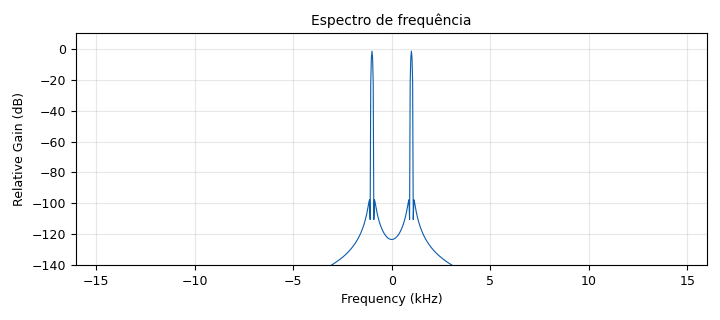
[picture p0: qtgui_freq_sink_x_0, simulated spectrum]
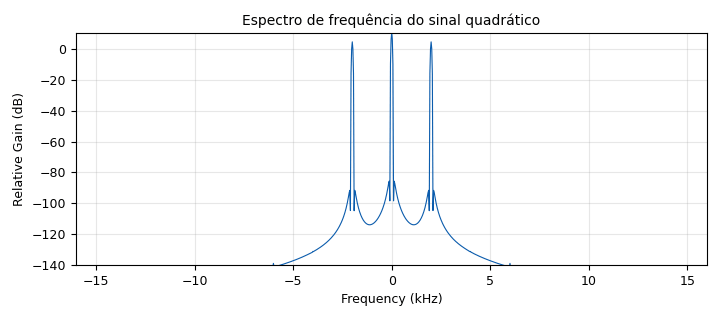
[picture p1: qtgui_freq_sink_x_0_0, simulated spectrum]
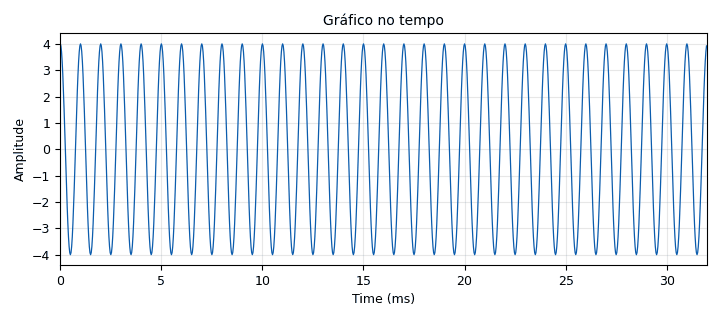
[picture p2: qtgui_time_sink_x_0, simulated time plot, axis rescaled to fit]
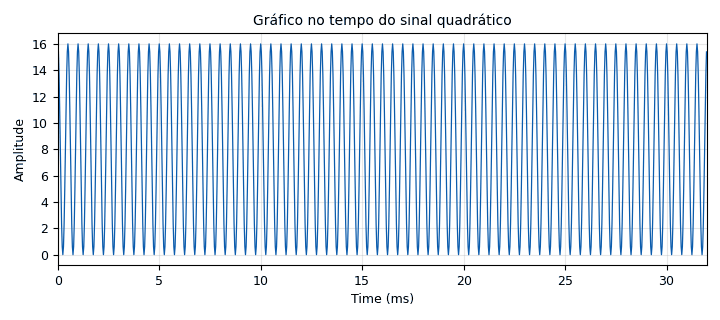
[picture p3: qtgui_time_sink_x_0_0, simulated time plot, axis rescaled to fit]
options:
  parameters:
    generate_options: qt_gui
    id: aula_0
    output_language: python
    title: Introdução ao GnuRadio
  states: {}

blocks:
- name: A
  id: variable
  parameters:
    value: '4'
  states: {}
- name: fc
  id: variable
  parameters:
    value: '1000'
  states: {}
- name: samp_rate
  id: variable
  parameters:
    value: '32000'
  states: {}
- name: variable_0
  id: variable
  parameters:
    value: '0'
  states: {}
- name: analog_sig_source_x_0
  id: analog_sig_source_x
  parameters:
    amp: A
    freq: fc
    offset: '0'
    phase: '0'
    samp_rate: samp_rate
    type: float
    waveform: analog.GR_COS_WAVE
  states: {}
- name: blocks_complex_to_mag_squared_0
  id: blocks_complex_to_mag_squared
  parameters: {}
  states: {}
- name: blocks_float_to_complex_0
  id: blocks_float_to_complex
  parameters: {}
  states: {}
- name: blocks_integrate_xx_0
  id: blocks_integrate_xx
  parameters:
    decim: '1024'
    type: float
  states: {}
- name: blocks_multiply_const_vxx_0
  id: blocks_multiply_const_vxx
  parameters:
    const: 1/1024
    type: float
  states: {}
- name: blocks_null_source_0
  id: blocks_null_source
  parameters:
    type: float
  states: {}
- name: blocks_throttle_0
  id: blocks_throttle
  parameters:
    samples_per_second: samp_rate
    type: float
  states: {}
- name: qtgui_freq_sink_x_0
  id: qtgui_freq_sink_x
  parameters:
    average: '0.05'
    bw: samp_rate
    fc: '0'
    fftsize: '1024'
    name: Espectro de frequência
    type: float
    wintype: window.WIN_BLACKMAN
  states: {}
- name: qtgui_freq_sink_x_0_0
  id: qtgui_freq_sink_x
  parameters:
    average: '0.05'
    bw: samp_rate
    fc: '0'
    fftsize: '1024'
    name: Espectro de frequência do sinal quadrático
    type: float
    wintype: window.WIN_BLACKMAN
  states: {}
- name: qtgui_number_sink_0
  id: qtgui_number_sink
  parameters:
    graph_type: qtgui.NUM_GRAPH_NONE
    name: Potência
    type: float
  states: {}
- name: qtgui_time_sink_x_0
  id: qtgui_time_sink_x
  parameters:
    name: Gráfico no tempo
    size: '1024'
    srate: samp_rate
    type: float
  states: {}
- name: qtgui_time_sink_x_0_0
  id: qtgui_time_sink_x
  parameters:
    name: Gráfico no tempo do sinal quadrático
    size: '1024'
    srate: samp_rate
    type: float
  states: {}
- name: virtual_sink_0
  id: virtual_sink
  parameters: {}
  states: {}
- name: virtual_source_0
  id: virtual_source
  parameters: {}
  states: {}

connections:
- [analog_sig_source_x_0, '0', blocks_float_to_complex_0, '0']
- [analog_sig_source_x_0, '0', blocks_throttle_0, '0']
- [blocks_complex_to_mag_squared_0, '0', blocks_integrate_xx_0, '0']
- [blocks_complex_to_mag_squared_0, '0', virtual_sink_0, '0']
- [blocks_float_to_complex_0, '0', blocks_complex_to_mag_squared_0, '0']
- [blocks_integrate_xx_0, '0', blocks_multiply_const_vxx_0, '0']
- [blocks_multiply_const_vxx_0, '0', qtgui_number_sink_0, '0']
- [blocks_null_source_0, '0', blocks_float_to_complex_0, '1']
- [blocks_throttle_0, '0', qtgui_freq_sink_x_0, '0']
- [blocks_throttle_0, '0', qtgui_time_sink_x_0, '0']
- [virtual_source_0, '0', qtgui_freq_sink_x_0_0, '0']
- [virtual_source_0, '0', qtgui_time_sink_x_0_0, '0']

metadata:
  file_format: 1
